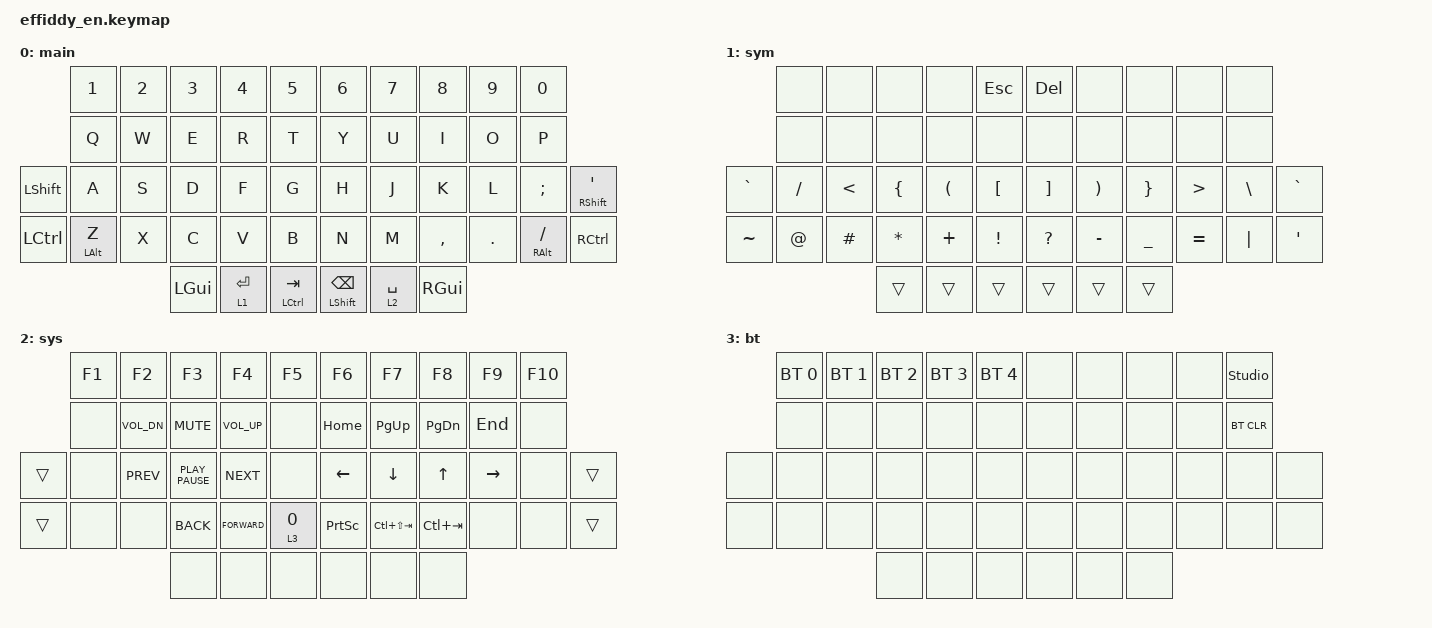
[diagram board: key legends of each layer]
#include <behaviors.dtsi>
#include <dt-bindings/zmk/keys.h>
#include <dt-bindings/zmk/bt.h>

&lt { tapping-term-ms = <150>; };
&mt { tapping-term-ms = <150>; };

/ {
    keymap {
        compatible = "zmk,keymap";

        main {
            bindings = <
             &kp N1      &kp N2  &kp N3    &kp N4     &kp N5              &kp N6          &kp N7       &kp N8     &kp N9   &kp N0
             &kp Q       &kp W   &kp E     &kp R      &kp T               &kp Y           &kp U        &kp I      &kp O    &kp P
&kp LSHIFT   &kp A       &kp S   &kp D     &kp F      &kp G               &kp H           &kp J        &kp K      &kp L    &kp SEMI        &mt RSHIFT SQT
&kp LCTRL    &mt LALT Z  &kp X   &kp C     &kp V      &kp B               &kp N           &kp M        &kp COMMA  &kp DOT  &mt RALT SLASH  &kp RCTRL
                                 &kp LGUI  &lt 1 RET  &mt LCTRL TAB       &mt LSHFT BSPC  &lt 2 SPACE  &kp RGUI
            >;
        };

        sym {
            bindings = <
           &none     &none     &none     &none     &kp ESC        &kp DEL    &none      &none      &none      &none
           &none     &none     &none     &none     &none          &none      &none      &none      &none      &none
&kp GRAVE  &kp FSLH  &kp LT    &kp LBRC  &kp LPAR  &kp LBKT       &kp RBKT   &kp RPAR   &kp RBRC   &kp GT     &kp BSLH  &kp GRAVE
&kp TILDE  &kp AT    &kp HASH  &kp STAR  &kp PLUS  &kp EXCL       &kp QMARK  &kp MINUS  &kp UNDER  &kp EQUAL  &kp PIPE  &kp SQT
                               &trans    &trans    &trans         &trans     &trans     &trans
            >;
        };

        sys {
            bindings = <
        &kp F1  &kp F2        &kp F3            &kp F4           &kp F5       &kp F6           &kp F7           &kp F8       &kp F9     &kp F10
        &none   &kp C_VOL_DN  &kp K_MUTE        &kp C_VOLUME_UP  &none        &kp HOME         &kp PG_UP        &kp PG_DN    &kp END    &none
&trans  &none   &kp K_PREV    &kp K_PLAY_PAUSE  &kp K_NEXT       &none        &kp LEFT         &kp DOWN         &kp UP       &kp RIGHT  &none    &trans
&trans  &none   &none         &kp K_BACK        &kp K_FORWARD    &lt 3 0      &kp PRINTSCREEN  &kp LC(LS(TAB))  &kp LC(TAB)  &none      &none    &trans
                              &none             &none            &none        &none            &none            &none
            >;
        };

        bt {
            bindings = <
       &bt BT_SEL 0  &bt BT_SEL 1  &bt BT_SEL 2  &bt BT_SEL 3  &bt BT_SEL 4       &none  &none  &none  &none  &studio_unlock
       &none         &none         &none         &none         &none              &none  &none  &none  &none  &bt BT_CLR
&none  &none         &none         &none         &none         &none              &none  &none  &none  &none  &none           &none
&none  &none         &none         &none         &none         &none              &none  &none  &none  &none  &none           &none
                                        &none         &none         &none              &none  &none  &none
            >;
        };

        extra1 { status = "reserved"; };

        extra2 { status = "reserved"; };
    };
};
